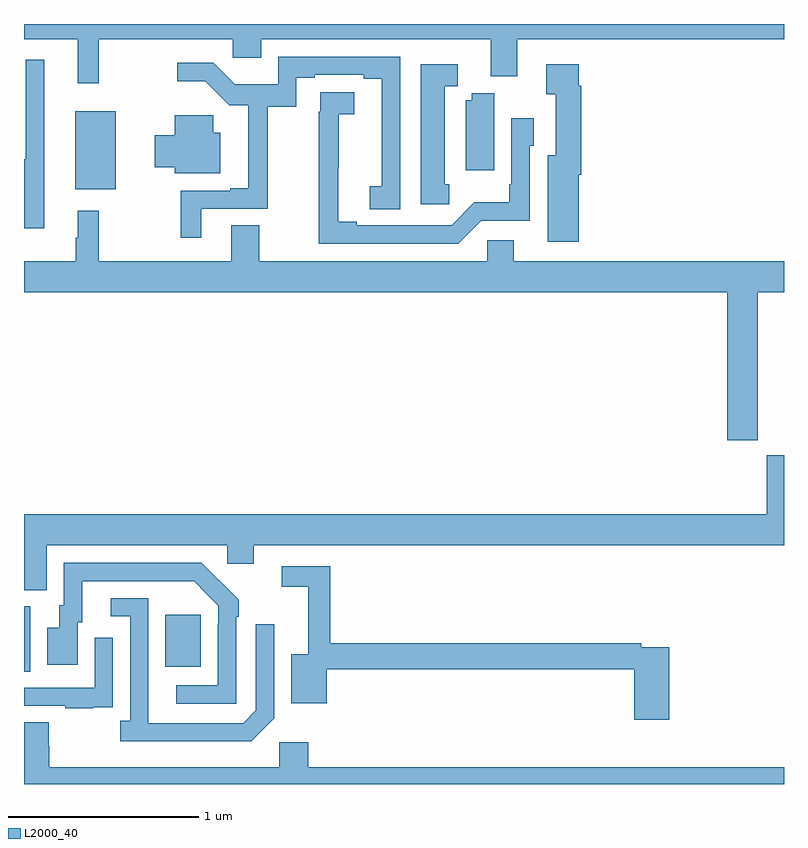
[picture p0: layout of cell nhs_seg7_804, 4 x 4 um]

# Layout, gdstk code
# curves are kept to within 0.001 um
import gdstk
lib = gdstk.Library(unit=1e-6, precision=1e-09)
def R(c, l, rs):  # rectangles x0, y0, x1, y1
    for r in rs: c.add(gdstk.rectangle(r[:2], r[2:], *l))
def P(c, l, *ps):  # polygons
    for p in ps: c.add(gdstk.Polygon(p, *l))
L2000_40 = (2000, 40)

nhs_seg7_804 = lib.new_cell('nhs_seg7_804')
R(nhs_seg7_804, L2000_40, [(171,1026.592,171.034,1026.936), (171.743,1026.617,171.931,1026.892), (171.269,1029.131,171.484,1029.541)])
P(nhs_seg7_804, L2000_40, [(171.394,1029.92),(172.098,1029.92),(172.098,1029.822),(172.249,1029.822),(172.249,1029.92),(173.456,1029.92),(173.456,1029.726),(173.596,1029.726),(173.596,1029.92),(175,1029.92),(175,1030),(171,1030),(171,1029.92),(171.284,1029.92),(171.284,1029.687),(171.394,1029.687)],
  [(171.934,1029.027),(172.283,1029.027),(172.283,1029.565),(172.434,1029.565),(172.434,1029.718),(172.531,1029.718),(172.531,1029.732),(172.787,1029.732),(172.787,1029.712),(172.883,1029.712),(172.882,1029.145),(172.821,1029.145),(172.821,1029.025),(172.98,1029.025),(172.98,1029.828),(172.338,1029.828),(172.338,1029.682),(172.109,1029.682),(171.996,1029.795),(171.807,1029.795),(171.807,1029.698),(171.955,1029.698),(172.081,1029.573),(172.181,1029.573),(172.181,1029.136),(172.085,1029.136),(172.085,1029.123),(171.825,1029.123),(171.825,1028.874),(171.934,1028.874)],
  [(171.106,1029.811),(171.009,1029.811),(171.009,1029.289),(171,1029.289),(171,1028.924),(171.106,1028.924)],
  [(173.237,1029.156),(173.215,1029.156),(173.215,1029.672),(173.284,1029.672),(173.284,1029.787),(173.087,1029.787),(173.087,1029.051),(173.237,1029.051)],
  [(173.92,1029.206),(173.933,1029.206),(173.933,1029.674),(173.92,1029.674),(173.92,1029.787),(173.748,1029.787),(173.748,1029.631),(173.798,1029.631),(173.798,1029.31),(173.756,1029.31),(173.756,1028.853),(173.92,1028.853)],
  [(173.406,1028.964),(173.661,1028.964),(173.661,1029.36),(173.682,1029.36),(173.682,1029.505),(173.565,1029.505),(173.565,1029.157),(173.553,1029.157),(173.553,1029.061),(173.371,1029.061),(173.25,1028.94),(172.75,1028.94),(172.75,1028.96),(172.654,1028.96),(172.656,1029.526),(172.738,1029.526),(172.738,1029.641),(172.558,1029.641),(172.558,1029.539),(172.552,1029.539),(172.552,1028.844),(173.286,1028.844)],
  [(173.476,1029.635),(173.356,1029.635),(173.356,1029.598),(173.324,1029.598),(173.324,1029.231),(173.476,1029.231)],
  [(172.033,1029.428),(171.997,1029.428),(171.997,1029.52),(171.794,1029.52),(171.794,1029.415),(171.689,1029.415),(171.689,1029.245),(171.794,1029.245),(171.794,1029.215),(172.033,1029.215)],
  [(172.091,1028.942),(172.091,1028.752),(171.394,1028.752),(171.394,1029.016),(171.284,1029.016),(171.284,1028.876),(171.273,1028.876),(171.273,1028.752),(171,1028.752),(171,1028.588),(174.701,1028.588),(174.701,1027.809),(174.861,1027.809),(174.861,1028.588),(175,1028.588),(175,1028.752),(173.578,1028.752),(173.578,1028.862),(173.439,1028.862),(173.439,1028.752),(172.239,1028.752),(172.239,1028.942)],
  [(171.121,1027.256),(172.071,1027.256),(172.071,1027.158),(172.21,1027.158),(172.21,1027.256),(175,1027.256),(175,1027.729),(174.908,1027.729),(174.908,1027.42),(171,1027.42),(171,1027.021),(171.121,1027.021)],
  [(172.116,1026.881),(172.131,1026.881),(172.131,1026.969),(171.934,1027.164),(171.21,1027.164),(171.21,1026.942),(171.185,1026.942),(171.185,1026.823),(171.122,1026.823),(171.122,1026.627),(171.283,1026.627),(171.283,1026.852),(171.307,1026.852),(171.307,1027.068),(171.895,1027.068),(172.023,1026.939),(172.023,1026.839),(172.02,1026.839),(172.02,1026.519),(171.801,1026.519),(171.801,1026.423),(172.116,1026.423)],
  [(174.395,1026.72),(174.248,1026.72),(174.248,1026.74),(172.613,1026.74),(172.613,1027.146),(172.356,1027.146),(172.356,1027.038),(172.496,1027.038),(172.496,1026.682),(172.406,1026.682),(172.406,1026.425),(172.593,1026.425),(172.593,1026.604),(174.212,1026.604),(174.212,1026.339),(174.395,1026.339)],
  [(172.317,1026.345),(172.317,1026.841),(172.221,1026.841),(172.221,1026.387),(172.155,1026.321),(171.655,1026.321),(171.654,1026.978),(171.456,1026.978),(171.456,1026.882),(171.558,1026.882),(171.558,1026.334),(171.507,1026.334),(171.507,1026.224),(172.196,1026.224)],
  [(171.365,1026.405),(171.467,1026.405),(171.467,1026.514),(171.468,1026.514),(171.468,1026.769),(171.372,1026.769),(171.372,1026.507),(171,1026.507),(171,1026.411),(171.217,1026.411),(171.217,1026.399),(171.365,1026.399)],
  [(175,1026.088),(172.496,1026.088),(172.496,1026.22),(172.344,1026.22),(172.344,1026.088),(171.134,1026.088),(171.134,1026.201),(171.129,1026.201),(171.129,1026.326),(171,1026.326),(171,1026),(175,1026)])

lib.write_gds('nhs_seg7_804.gds')
